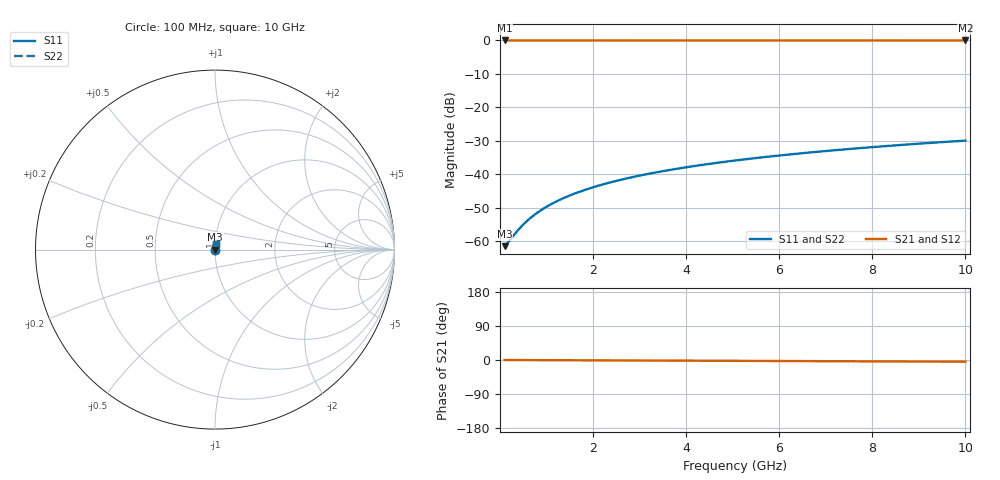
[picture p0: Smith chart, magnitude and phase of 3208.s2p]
# Hz S RI R 50.00
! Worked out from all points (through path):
!   100 points, 100 MHz to 10 GHz, reference 50 ohm
!   highest |S21| = -0.01 dB at 100 MHz (marker M1); lowest = 0.0 dB at 10 GHz (marker M2)
!   lowest |S11| = -61.4 dB at 100 MHz (marker M3), VSWR 1.00, Z = 50.1 + j0.0318 ohm
!   |S11| at or under -10 dB: start of sweep to end of sweep
!   |S22| runs from -61.4 to -29.9 dB; largest |S21 - S12| = 0
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1e8  0.000786 0.000318  0.9992 -0.000777  0.9992 -0.000777  0.000786 0.000318
2e8  0.000792 0.000635  0.9992 -0.00155  0.9992 -0.00155  0.000792 0.000635
4e8  0.000801 0.00127  0.9992 -0.00311  0.9992 -0.00311  0.000801 0.00127
5e8  0.000806 0.00159  0.9992 -0.00389  0.9992 -0.00389  0.000806 0.00159
6e8  0.000811 0.00191  0.9992 -0.00466  0.9992 -0.00466  0.000811 0.00191
7e8  0.000816 0.00222  0.9992 -0.00544  0.9992 -0.00544  0.000816 0.00222
8e8  0.000822 0.00254  0.9992 -0.00622  0.9992 -0.00622  0.000822 0.00254
1e9  0.000834 0.00318  0.9992 -0.00777  0.9992 -0.00777  0.000834 0.00318
1.2e9  0.000847 0.00381  0.9991 -0.00933  0.9991 -0.00933  0.000847 0.00381
1.5e9  0.000871 0.00477  0.9991 -0.0117  0.9991 -0.0117  0.000871 0.00477
1.8e9  0.000898 0.00572  0.9991 -0.014  0.9991 -0.014  0.000898 0.00572
2.1e9  0.00093 0.00667  0.999 -0.0163  0.999 -0.0163  0.00093 0.00667
2.5e9  0.000979 0.00794  0.9989 -0.0194  0.9989 -0.0194  0.000979 0.00794
2.9e9  0.00104 0.00921  0.9989 -0.0226  0.9989 -0.0226  0.00104 0.00921
3.4e9  0.00112 0.0108  0.9987 -0.0264  0.9987 -0.0264  0.00112 0.0108
4.2e9  0.00127 0.0133  0.9985 -0.0327  0.9985 -0.0327  0.00127 0.0133
5.1e9  0.00149 0.0162  0.9982 -0.0397  0.9982 -0.0397  0.00149 0.0162
5.9e9  0.00171 0.0187  0.9979 -0.0459  0.9979 -0.0459  0.00171 0.0187
6.7e9  0.00197 0.0213  0.9975 -0.0522  0.9975 -0.0522  0.00197 0.0213
7.5e9  0.00225 0.0238  0.9971 -0.0584  0.9971 -0.0584  0.00225 0.0238
8.4e9  0.00261 0.0267  0.9966 -0.0655  0.9966 -0.0655  0.00261 0.0267
1e10  0.00336 0.0318  0.9955 -0.078  0.9955 -0.078  0.00336 0.0318
